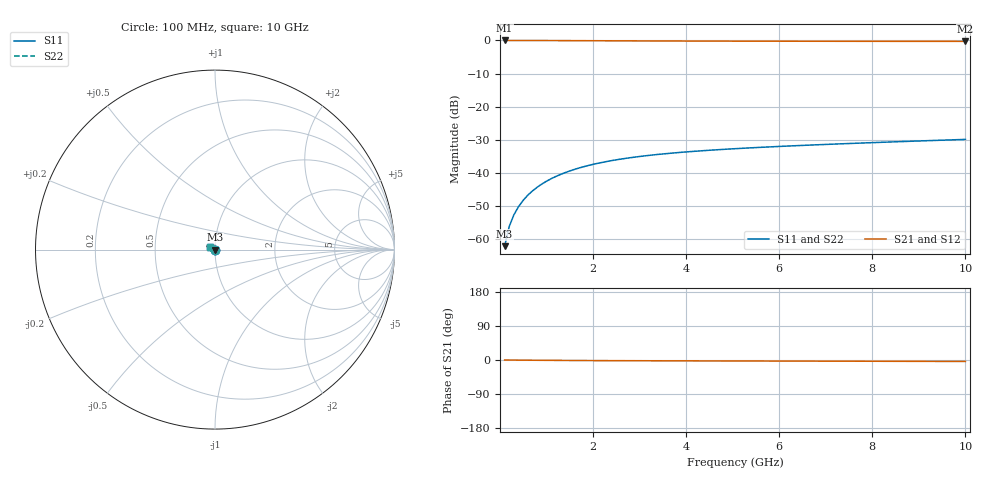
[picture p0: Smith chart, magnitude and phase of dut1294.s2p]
! Touchstone file exported from HFSS 2024.1.0
!  File:  C:/UserFiles/LocalFiles/RDL_TSV_Batchsim/temp_TSV1_1294_1780256419.aedt
!  Generated:  03:45:44 AM Jun  1, 2026
!  Design:  TSV1
!  Project:  temp_TSV1_1294_1780256419
!  Setup:  Setup1
!  Solution:  Sweep
! Variables:
!  dtsv = 9.97um
!  hbump = 3um
!  htsv = 53.98um
!  lrdl = 252.1521522um
!  p = 40
!  p1 = 59.78um
!  t = 500um
!  trdl = 3um
!  wrdl = 24.89489489um
# GHz S MA R 50.000000
! Terminal data exported
! Port[1] = TSV22_T1
! Port[2] = TSV22_T2
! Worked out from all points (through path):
!   100 points, 100 MHz to 10 GHz, reference 50 ohm
!   highest |S21| = 0.00 dB at 100 MHz (marker M1); lowest = -0.3 dB at 10 GHz (marker M2)
!   lowest |S11| = -62.2 dB at 100 MHz (marker M3), VSWR 1.00, Z = 50 - j0.0775 ohm
!   |S11| at or under -10 dB: start of sweep to end of sweep
!   |S22| runs from -62.2 to -29.9 dB; largest |S21 - S12| = 4.4e-15
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0.1  0.0007799 -83.8  0.9998 -0.1  0.9998 -0.1  0.0007799 -83.8
! Gamma 0 0 0 0
! Port Impedance 50 0 50 0
0.2  0.001551 -90.1  0.9997 -0.2  0.9997 -0.2  0.001551 -90.1
0.3  0.002324 -93.7  0.9996 -0.3  0.9996 -0.3  0.002324 -93.7
0.4  0.003092 -96.7  0.9993 -0.4  0.9993 -0.4  0.003092 -96.7
0.5  0.003852 -99.5  0.9991 -0.5  0.9991 -0.5  0.003852 -99.5
0.6  0.004602 -102.0  0.9987 -0.5  0.9987 -0.5  0.004602 -102.0
0.7  0.00534 -104.4  0.9983 -0.6  0.9983 -0.6  0.00534 -104.4
0.8  0.006065 -106.8  0.9979 -0.7  0.9979 -0.7  0.006065 -106.8
0.9  0.006775 -109.1  0.9974 -0.8  0.9974 -0.8  0.006775 -109.1
1.1  0.008147 -113.6  0.9964 -0.9  0.9964 -0.9  0.008147 -113.6
1.4  0.01007 -119.9  0.9946 -1.2  0.9946 -1.2  0.01007 -119.9
1.6  0.01126 -123.9  0.9933 -1.3  0.9933 -1.3  0.01126 -123.9
1.8  0.01238 -127.7  0.992 -1.4  0.992 -1.4  0.01238 -127.7
2.1  0.01392 -133.1  0.9901 -1.6  0.9901 -1.6  0.01392 -133.1
2.5  0.01572 -139.8  0.9875 -1.7  0.9875 -1.7  0.01572 -139.8
2.9  0.01729 -145.9  0.9852 -1.9  0.9852 -1.9  0.01729 -145.9
3.4  0.01898 -152.8  0.9825 -2.1  0.9825 -2.1  0.01898 -152.8
4.2  0.0212 -162.5  0.9791 -2.3  0.9791 -2.3  0.0212 -162.5
5.1  0.02326 -171.6  0.9761 -2.6  0.9761 -2.6  0.02326 -171.6
6.7  0.02632 175.1  0.9725 -3.0  0.9725 -3.0  0.02632 175.1
8.4  0.02927 164.1  0.9701 -3.4  0.9701 -3.4  0.02927 164.1
10  0.03199 155.6  0.9685 -3.8  0.9685 -3.8  0.03199 155.6
